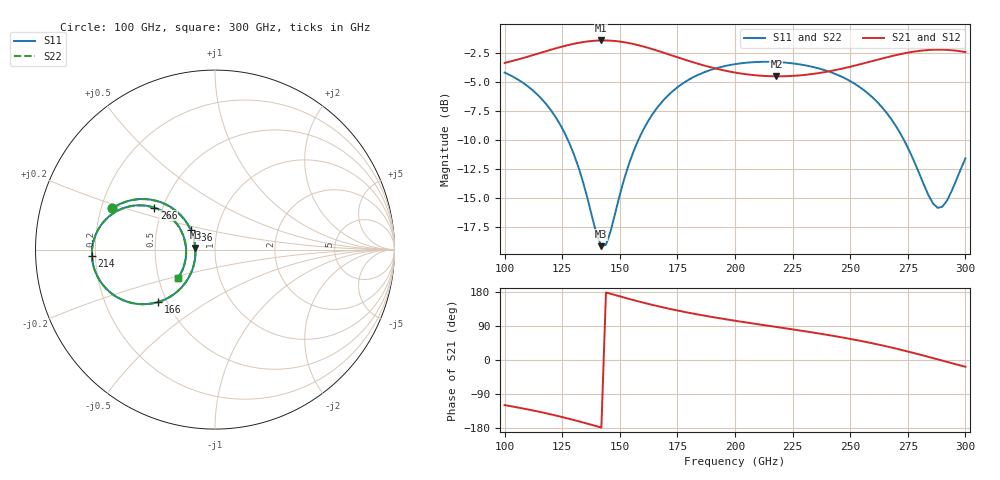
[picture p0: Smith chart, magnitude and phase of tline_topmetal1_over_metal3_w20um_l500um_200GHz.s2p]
#  GHZ S DB R 50
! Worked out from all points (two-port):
!   101 points, 100 GHz to 300 GHz, reference 50 ohm
!   highest |S21| = -1.42 dB at 142 GHz (marker M1); lowest = -4.5 dB at 218 GHz (marker M2)
!   |S21| within 3 dB of the highest: start of sweep to 208.5 GHz; 229 GHz to end of sweep
!   lowest |S11| = -19.2 dB at 142 GHz (marker M3), VSWR 1.25, Z = 40.2 + j0.87 ohm
!   |S11| at or under -10 dB: 127.4 GHz to 158.1 GHz (30.68 GHz wide, 21.5 % of centre); 273.2 GHz to end of sweep
!   |S22| runs from -19.1 to -3.3 dB; largest |S21 - S12| = 1.4e-14
!   S11 on the Smith chart (normalised r, x): 100 GHz: 0.25, +0.18; 136 GHz: 0.74, +0.17; 166 GHz: 0.45, -0.32; 214 GHz: 0.19, -0.02; 266 GHz: 0.45, +0.25; 300 GHz: 0.63, -0.22
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100  -4.20 158.1  -3.36 -119.1  -3.36 -119.1  -4.20 158.2
120  -7.42 140.2  -2.23 -143.3  -2.23 -143.3  -7.42 140.4
128  -10.25 135.1  -1.80 -155.2  -1.80 -155.2  -10.24 135.3
134  -13.63 136.9  -1.57 -164.8  -1.57 -164.8  -13.61 137.2
136  -15.09 140.5  -1.51 -168.1  -1.51 -168.1  -15.07 140.8
142  -19.20 174.4  -1.42 -178.3  -1.42 -178.3  -19.13 174.6
146  -17.92 -151.9  -1.44 174.8  -1.44 174.8  -17.86 -152.1
156  -10.99 -131.4  -1.74 158.0  -1.74 158.0  -10.97 -131.5
166  -7.30 -137.3  -2.29 142.8  -2.29 142.8  -7.29 -137.4
168  -6.80 -139.1  -2.42 140.0  -2.42 140.0  -6.80 -139.1
182  -4.59 -151.8  -3.32 122.3  -3.32 122.3  -4.59 -151.8
200  -3.47 -166.7  -4.20 103.6  -4.20 103.6  -3.47 -166.7
214  -3.27 -177.2  -4.50 90.7  -4.50 90.7  -3.27 -177.1
218  -3.29 179.9  -4.52 87.1  -4.52 87.1  -3.29 180.0
234  -3.72 168.3  -4.31 72.3  -4.31 72.3  -3.72 168.4
252  -5.17 154.7  -3.60 53.4  -3.60 53.4  -5.17 154.9
266  -7.73 145.3  -2.88 35.6  -2.88 35.6  -7.72 145.5
268  -8.27 144.4  -2.78 32.8  -2.78 32.8  -8.26 144.6
278  -11.99 146.2  -2.38 17.8  -2.38 17.8  -11.96 146.5
288  -15.89 178.5  -2.22 1.6  -2.22 1.6  -15.83 178.6
292  -15.27 -161.5  -2.24 -4.9  -2.24 -4.9  -15.21 -161.5
300  -11.62 -142.2  -2.43 -17.8  -2.43 -17.8  -11.59 -142.3
